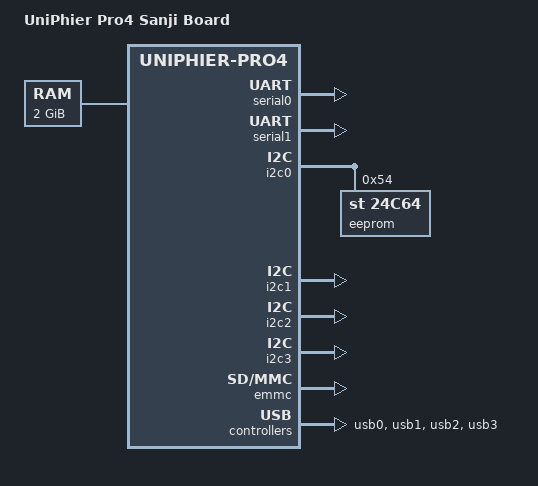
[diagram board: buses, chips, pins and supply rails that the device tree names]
/*
 * Device Tree Source for UniPhier Pro4 Sanji Board
 *
 * Copyright (C) 2016 Socionext Inc.
 *   Author: Masahiro Yamada <yamada.masahiro@socionext.com>
 *
 * SPDX-License-Identifier: (GPL-2.0+ OR MIT)
 */

/dts-v1/;
/include/ "uniphier-pro4.dtsi"

/ {
	model = "UniPhier Pro4 Sanji Board";
	compatible = "socionext,uniphier-pro4-sanji", "socionext,uniphier-pro4";

	chosen {
		stdout-path = "serial0:115200n8";
	};

	aliases {
		serial0 = &serial0;
		serial1 = &serial1;
		i2c0 = &i2c0;
		i2c1 = &i2c1;
		i2c2 = &i2c2;
		i2c3 = &i2c3;
		i2c5 = &i2c5;
		i2c6 = &i2c6;
	};

	memory@80000000 {
		device_type = "memory";
		reg = <0x80000000 0x80000000>;
	};
};

&serial0 {
	status = "okay";
};

&serial1 {
	status = "okay";
};

&i2c0 {
	status = "okay";

	eeprom@54 {
		compatible = "st,24c64", "atmel,24c64", "i2c-eeprom";
		reg = <0x54>;
		pagesize = <32>;
		u-boot,i2c-offset-len = <2>;
	};
};

&i2c1 {
	status = "okay";
};

&i2c2 {
	status = "okay";
};

&i2c3 {
	status = "okay";
};

&emmc {
	status = "okay";
};

&usb0 {
	status = "okay";
};

&usb1 {
	status = "okay";
};

&usb2 {
	status = "okay";
};

&usb3 {
	status = "okay";
};

/* for U-Boot only */
&serial0 {
	u-boot,dm-pre-reloc;
};

&mio_clk {
	u-boot,dm-pre-reloc;
};

&emmc {
	u-boot,dm-pre-reloc;
};

&pinctrl_uart0 {
	u-boot,dm-pre-reloc;
};

&pinctrl_emmc {
	u-boot,dm-pre-reloc;
};
